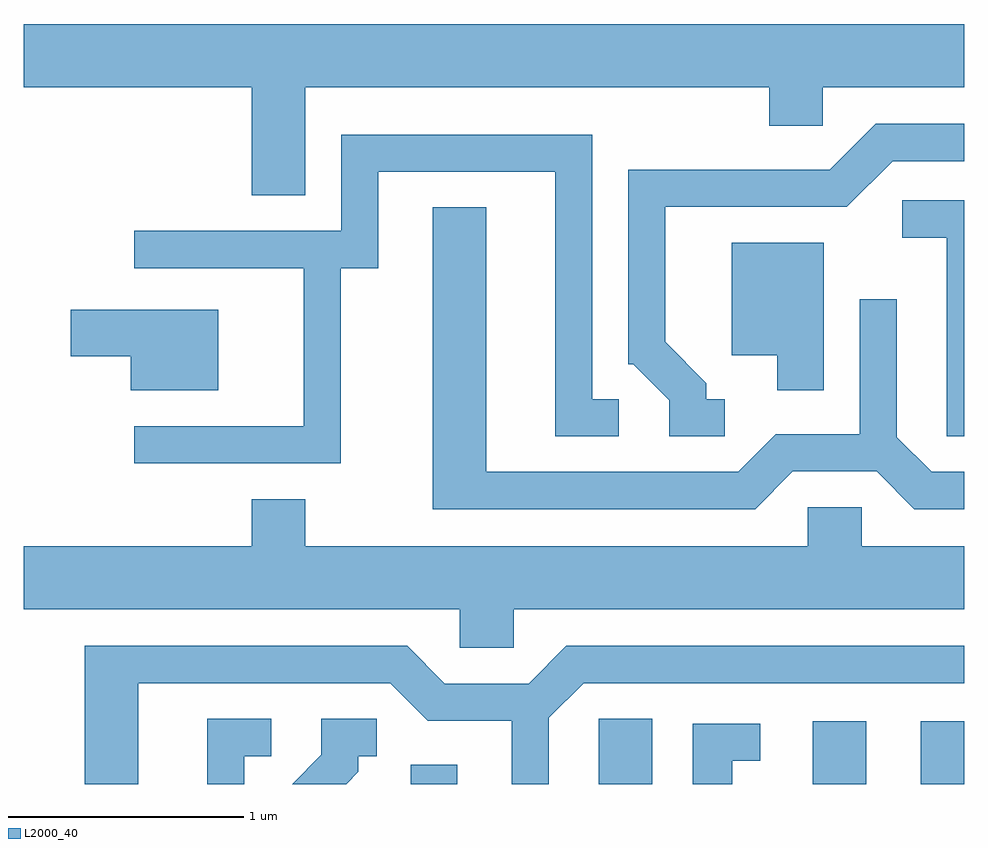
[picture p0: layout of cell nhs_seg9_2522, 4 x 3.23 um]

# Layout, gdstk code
import gdstk
lib = gdstk.Library(unit=1e-6, precision=1e-09)
def R(c, l, rs):  # rectangles x0, y0, x1, y1
    for r in rs: c.add(gdstk.rectangle(r[:2], r[2:], *l))
def P(c, l, *ps):  # polygons
    for p in ps: c.add(gdstk.Polygon(p, *l))
L2000_40 = (2000, 40)

nhs_seg9_2522 = lib.new_cell('nhs_seg9_2522')
R(nhs_seg9_2522, L2000_40, [(261.256,1964.432,261.454,1964.514), (262.056,1964.432,262.284,1964.709), (262.966,1964.432,263.194,1964.699), (263.426,1964.432,263.611,1964.699)])
P(nhs_seg9_2522, L2000_40, [(260.809,1967.396),(262.781,1967.396),(262.781,1967.231),(263.009,1967.231),(263.009,1967.396),(263.611,1967.396),(263.611,1967.664),(259.611,1967.664),(259.611,1967.396),(260.581,1967.396),(260.581,1966.936),(260.809,1966.936)],
  [(262.593,1966.069),(262.514,1966.069),(262.514,1966.137),(262.339,1966.312),(262.339,1966.886),(263.112,1966.886),(263.307,1967.081),(263.611,1967.081),(263.611,1967.239),(263.234,1967.239),(263.039,1967.044),(262.181,1967.044),(262.181,1966.216),(262.204,1966.216),(262.356,1966.064),(262.356,1965.911),(262.593,1965.911)],
  [(260.959,1966.626),(261.119,1966.626),(261.119,1967.036),(261.871,1967.036),(261.871,1965.911),(262.142,1965.911),(262.142,1966.069),(262.029,1966.069),(262.029,1967.194),(260.961,1967.194),(260.961,1966.784),(260.082,1966.784),(260.082,1966.626),(260.801,1966.626),(260.801,1965.954),(260.082,1965.954),(260.082,1965.796),(260.959,1965.796)],
  [(263.611,1966.914),(263.348,1966.914),(263.348,1966.756),(263.536,1966.756),(263.536,1965.911),(263.611,1965.911)],
  [(262.882,1965.761),(263.239,1965.761),(263.399,1965.601),(263.611,1965.601),(263.611,1965.759),(263.472,1965.759),(263.324,1965.907),(263.324,1966.493),(263.166,1966.493),(263.166,1965.919),(262.809,1965.919),(262.649,1965.759),(261.579,1965.759),(261.579,1966.884),(261.351,1966.884),(261.351,1965.601),(262.722,1965.601)],
  [(263.014,1966.734),(262.621,1966.734),(262.621,1966.256),(262.816,1966.256),(262.816,1966.106),(263.014,1966.106)],
  [(260.439,1966.449),(259.811,1966.449),(259.811,1966.251),(260.066,1966.251),(260.066,1966.106),(260.439,1966.106)],
  [(261.694,1965.176),(263.611,1965.176),(263.611,1965.444),(263.174,1965.444),(263.174,1965.609),(262.946,1965.609),(262.946,1965.444),(260.809,1965.444),(260.809,1965.644),(260.581,1965.644),(260.581,1965.444),(259.611,1965.444),(259.611,1965.176),(261.466,1965.176),(261.466,1965.011),(261.694,1965.011)],
  [(260.099,1964.861),(261.169,1964.861),(261.329,1964.701),(261.686,1964.701),(261.686,1964.432),(261.844,1964.432),(261.844,1964.714),(261.992,1964.861),(263.611,1964.861),(263.611,1965.019),(261.919,1965.019),(261.759,1964.859),(261.402,1964.859),(261.242,1965.019),(259.871,1965.019),(259.871,1964.432),(260.099,1964.432)],
  [(260.549,1964.551),(260.663,1964.551),(260.663,1964.709),(260.391,1964.709),(260.391,1964.432),(260.549,1964.432)],
  [(261.034,1964.484),(261.034,1964.551),(261.113,1964.551),(261.113,1964.709),(260.876,1964.709),(260.876,1964.557),(260.752,1964.432),(260.982,1964.432)],
  [(262.624,1964.531),(262.743,1964.531),(262.743,1964.689),(262.456,1964.689),(262.456,1964.432),(262.624,1964.432)])

lib.write_gds('nhs_seg9_2522.gds')
